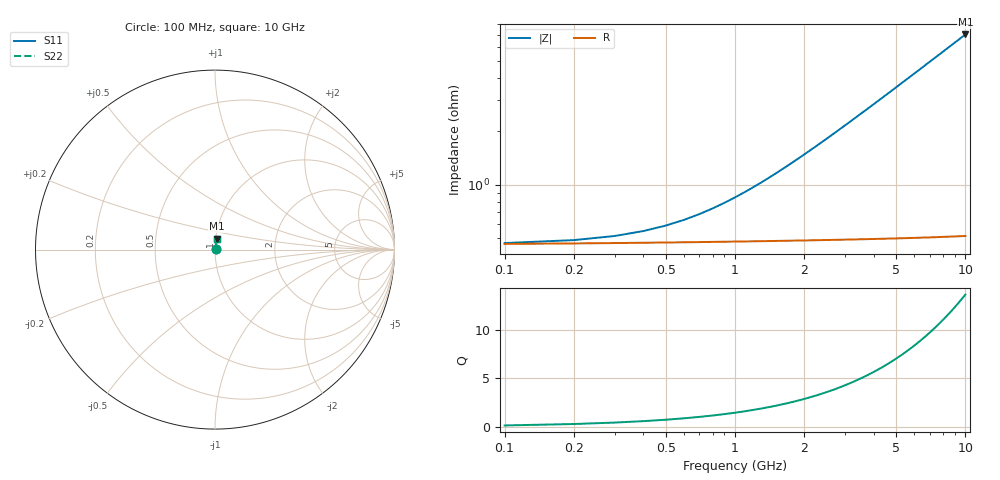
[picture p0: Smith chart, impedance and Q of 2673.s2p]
# Hz S RI R 50.00
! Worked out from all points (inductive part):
!   100 points, 100 MHz to 10 GHz, reference 50 ohm
!   read as one part in series: L = 111 pH near 2.1 GHz
!   highest Q = 13.6 at 10 GHz (marker M1), where L = 111 pH
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1e8  0.0046 0.000604  0.9954 -0.00078  0.9954 -0.00078  0.0046 0.000604
2e8  0.00463 0.00121  0.9954 -0.00156  0.9954 -0.00156  0.00463 0.00121
3e8  0.00466 0.00181  0.9953 -0.00234  0.9953 -0.00234  0.00466 0.00181
4e8  0.00468 0.00242  0.9953 -0.00312  0.9953 -0.00312  0.00468 0.00242
5e8  0.0047 0.00302  0.9953 -0.0039  0.9953 -0.0039  0.0047 0.00302
1e9  0.00479 0.00604  0.9952 -0.0078  0.9952 -0.0078  0.00479 0.00604
1.2e9  0.00483 0.00725  0.9952 -0.00936  0.9952 -0.00936  0.00483 0.00725
1.5e9  0.00489 0.00906  0.9951 -0.0117  0.9951 -0.0117  0.00489 0.00906
1.8e9  0.00495 0.0109  0.995 -0.014  0.995 -0.014  0.00495 0.0109
2.1e9  0.00503 0.0127  0.995 -0.0164  0.995 -0.0164  0.00503 0.0127
2.5e9  0.00513 0.0151  0.9949 -0.0195  0.9949 -0.0195  0.00513 0.0151
2.9e9  0.00526 0.0175  0.9947 -0.0226  0.9947 -0.0226  0.00526 0.0175
3.4e9  0.00543 0.0205  0.9945 -0.0265  0.9945 -0.0265  0.00543 0.0205
3.8e9  0.00558 0.0229  0.9944 -0.0296  0.9944 -0.0296  0.00558 0.0229
4.2e9  0.00575 0.0254  0.9942 -0.0327  0.9942 -0.0327  0.00575 0.0254
4.6e9  0.00593 0.0278  0.994 -0.0359  0.994 -0.0359  0.00593 0.0278
5.1e9  0.00617 0.0308  0.9938 -0.0397  0.9938 -0.0397  0.00617 0.0308
5.9e9  0.00662 0.0356  0.9933 -0.046  0.9933 -0.046  0.00662 0.0356
6.7e9  0.00712 0.0404  0.9928 -0.0522  0.9928 -0.0522  0.00712 0.0404
7.5e9  0.00768 0.0452  0.9922 -0.0584  0.9922 -0.0584  0.00768 0.0452
8.4e9  0.00839 0.0506  0.9915 -0.0654  0.9915 -0.0654  0.00839 0.0506
1e10  0.00983 0.0602  0.99 -0.0778  0.99 -0.0778  0.00983 0.0602
